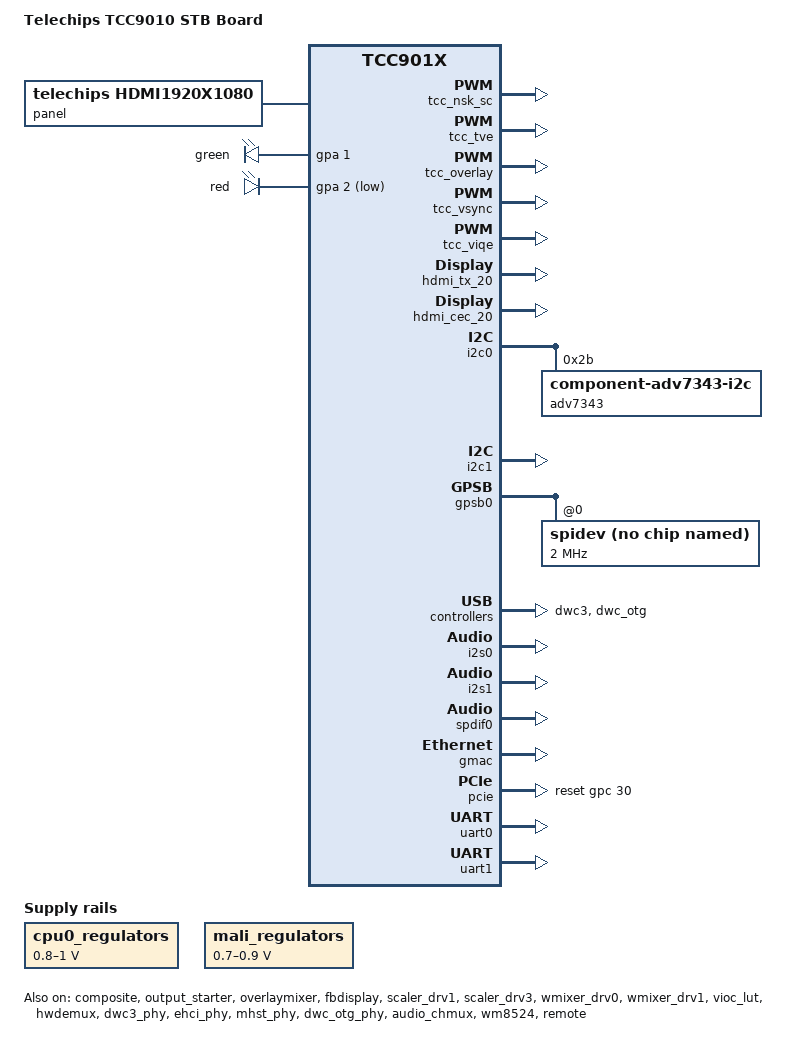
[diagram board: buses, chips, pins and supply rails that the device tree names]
// SPDX-License-Identifier: (GPL-2.0+ OR MIT)
/*
 * Device tree for Telechips TCC9010 STB board
 *
 * Copyright (C) 2018 Telechips Inc.
 */

#ifndef DT_OVERLAY
#include "tcc9010.dtsi"
#endif

#include "tcc901x-android.dtsi"

/ {
	model = "Telechips TCC9010 STB Board";
	compatible = "telechips,tcc9010", "telechips,tcc901x";

        tcc_nsk_sc: tcc_nsk_sc@16671000 {
        };

};

        &tcc_nsk_sc {
                compatible = "telechips,tcc-nsk-sc";
                reg = <0x16671000 0xFF>,
                        <0x16684000 0x1F>,
                        <0x16051000 0x70>,
                        <0x16020200 0x2F>;
                /*interrupts = <GIC_SPI 70 IRQ_TYPE_LEVEL_HIGH>;*/
                /*interrupts = <GIC_SPI 95 IRQ_TYPE_LEVEL_HIGH>;*/
                interrupts = <GIC_SPI 88 IRQ_TYPE_LEVEL_HIGH>;
                clocks = <&clk_peri PERI_UART7>, <&clk_io IOBUS_SMARTCARD7>; /* UART7 and SMARTCARD7 share a peripheral clock which is PERI UART7 */
                clock-names = "smartcardclk", "apb_pclk";
                clock-frequency = <108000000>;

                iobus_dmareqsel_offset = <0x24>;
                iobus_dmareqsel_value = <0x40000000>;
                iobus_hrsten_offset = <0xc>;
                iobus_hrsten_value = <0x200>;

                dma_extreq_value = <0x40000000>;

                uart_chnum = <7>;
                uart_port = <7>;
                uart_datmux_use = <1>;

                tda8024_use = <1>;
                rst_gpios =  <&gpd 9 0>;
		//rst_gpios = <&gpf 10 0>;
                detect_gpios = <&gpf 21 0>;
                pwren_gpios = <&gpf 22 0>;
                /*pwren_gpios = <&gpf 8 0>;*/
                vccsel_gpios = <&gpf 8 0>;
                clk_gpios = <&gpf 27 0>;
                data_c7_gpios = <&gpf 26 0>;
                data_c4_gpios = <&gpf 28 0>;
                data_c8_gpios = <&gpf 29 0>;
                pinctrl-names = "default", "gpio_C4", "gpio_C8", "gpio_C7", "gpio_C3";
                pinctrl-0 = <&nsk_sc_ctrl>;
                pinctrl-1 = <&nsk_sc_gpio_C4>;
                pinctrl-2 = <&nsk_sc_gpio_C8>;
                pinctrl-3 = <&nsk_sc_gpio_C7>;
                pinctrl-4 = <&nsk_sc_gpio_C3>;
                status = "okay";

        };

&chosen {
};

&cpu0_regulators {
	compatible = "regulator-gpio";

	regulator-name = "vdd_cpu0";
	regulator-min-microvolt = < 800000>;
	regulator-max-microvolt = <1000000>;
	regulator-type = "voltage";
	regulator-always-on;

	gpios = <&gpd 17 0x4
	         &gpd 16 0x4>;

	gpios-states = <0 1>;

	states = < 800000 0x1
		900000 0x2
		1000000 0x3
	>;

	startup-delay-us = <100000>;
	enable-active-high;
};

&mali_regulators {
	compatible = "regulator-gpio";

	regulator-name = "vdd_mali";
	regulator-min-microvolt = <700000>;
	regulator-max-microvolt = <900000>;
	regulator-type = "voltage";
	regulator-always-on;

	gpios = <&gpd 7 0x4
		&gpd 15 0x4>;
	gpios-states = <1 0>;

	states = < 700000 0x1
		800000 0x2
		900000 0x3
		>;

	startup-delay-us = <100000>;
	enable-active-high;
};

&gpu {
        operating-points-v2 = <&gpu_opp_table>;
};

&gpu_opp_table {

	opp@444000000 {
		opp-hz = /bits/ 64 <444000000>;
		opp-microvolt = <700000>;
		opp-core-mask = /bits/ 64 <0x3>;
	};
	opp@592000000 {
		opp-hz = /bits/ 64 <592000000>;
		opp-microvolt = <800000>;
		opp-core-mask = /bits/ 64 <0x3>;
	};

	opp@600000000 {
		opp-hz = /bits/ 64 <600000000>;
		opp-microvolt = <900000>;
		opp-core-mask = /bits/ 64 <0x3>;
	};
};

&tcc_pm {
	wakeup,powerkey = <PMU_WKUP_GP_G11 WAKEUP_ACT_LO>;
	//gpio-powers = <&gpd 20 0>;              /* SLP_PWRCTL */
};

&panel {
	status = "okay";
	compatible = "telechips,hdmi1920x1080";
};

&tcc_tve {
	status = "okay";
};

&composite {
	status = "okay";
};

&component {
	status = "disable";
	io_port_num = <1>;	/* TCC901x: LCDC interface 1 (L1_XXX) */
};

&output_starter {
	status = "okay";
};

&overlaymixer {
	status ="okay";
	contiguousSize = <0x1000000>;  /* 16MB (if > 512MB RAM) refer to Guide 27 Page */
	baseAddress = <0x20000000>;
	physSize = <0x80000000>; /*  DRAM size (0x40000000 = 1GB, 0x80000000 = 2GB) */
};

&fbdisplay {
	telechips,fbdisplay_num = <0>;
	status ="okay";
};

&tcc_overlay {
	compatible = "telechips,tcc_overlay";
	status = "okay";
	fbdisplay-overlay = <&fbdisplay>;
};

&tcc_vsync {
	compatible = "telechips,tcc_vsync";
	display-vioc0 = <&vioc_disp VIOC_DISP0>;
	display-vioc1 = <&vioc_disp VIOC_DISP1>;
	status = "okay";
};

&tcc_viqe {
	compatible = "telechips,tcc_viqe";
	status ="okay";
	tcc_viqe_viqe_common {
		board_num=<1>;
	};
};

&scaler_drv1 {
	rdmas = <&vioc_rdma VIOC_RDMA16>;
	scalers = <&vioc_scaler VIOC_SCALER1 VIOC_SC_RDMA_16>;	/* id:1, path:17 */
	wmixs = <&vioc_wmix VIOC_WMIX5>;	/* id:5, path:6 */
	wdmas = <&vioc_wdma VIOC_WDMA06>;
	settop_support = <1>;
	status = "okay";
};

&scaler_drv3 {
	rdmas = <&vioc_rdma VIOC_RDMA07>;
	scalers = <&vioc_scaler VIOC_SCALER3 VIOC_SC_RDMA_07>;	/* id:3, path:7 */
	wmixs = <&vioc_wmix VIOC_WMIX1>;	/* id:1, path:3 */
	wdmas = <&vioc_wdma VIOC_WDMA01>;
	settop_support = <1>;
	status = "okay";
};

&wmixer_drv0 {
	status = "okay";
};

&wmixer_drv1 {
	status = "okay";
};
&vioc_lut {
	status = "okay";
};

&hdmi_tx_20 {
	status = "okay";
	hdmi_ref_src_clock = <0>; // 0 XIN, 1 X-TAL, 2 PERI, 3, PMU XIN
	hdmi_phy_type = <1>;

	/* Source Product Description */
	product_description = "TCC9010_stb";
};

&hdmi_cec_20 {
	status = "okay";
};

&tcc_dxb_ctrl {
	compatible = "telechips,tcc_dxb_ctrl";
	pw-gpios   = <&gpe 20 0>;
	dxb0-gpios = <&gpe 22 0>, <&gpe 21>, <&gpd 2 0>, <>;
	dxb1-gpios = <>, <>, <>, <>;
	ant-gpios  = <>, <>;
};

/* I2C */

// Default set
&i2c0 {
	port-mux = <9>;
	status = "okay";
	pinctrl-names = "default";
	pinctrl-0 = <&i2c9_bus>;

	adv7343@20 {
		compatible = "component-adv7343-i2c";
		reg = <0x2b>;	/* ALSB=1, Write=0x56, Read=0x57 */
	};
};

// DXB
&i2c1 {
	port-mux = <8>;
	status = "okay";
	pinctrl-names = "default";
	pinctrl-0 = <&i2c8_bus>;
};

/* H/W Demux */
&hwdemux {
	compatible = "telechips,hwdemux";
	status = "okay";
};

/* Linux TV */
&tcc_hwdmx_tsif0 {
	compatible = "telechips,tcc90xx-hwdmx-tsif";
	tsif-port = <2>;
	pinctrl-names = "idle", "active";
	pinctrl-0 = <&tsrx2_idle>;
	pinctrl-1 = <&tsrx2_active>;
};

&tcc_hwdmx_tsif1 {
	compatible = "telechips,tcc90xx-hwdmx-tsif";
	tsif-port = <3>;
//	pinctrl-names = "idle", "active";
//	pinctrl-0 = <&tsrx3_idle>;
//	pinctrl-1 = <&tsrx3_active>;
};

/* GPSB */
&gpsb0 {
	status = "okay";
	gpsb-port = <8>;
	pinctrl-names = "idle", "active";
	pinctrl-0 = <&gpsb8_bus_idle>;
	pinctrl-1 = <&gpsb8_bus_spi>;

	#address-cells = <1>;
	#size-cells = <0>;
	spidev@0 {
		compatible = "rohm,dh2228fv";
		reg = <0>;
		spi-max-frequency = <2000000>;
	};
};

/* USB 3.0 DRD */
&dwc3_phy {
	status = "okay";
	vbus-ctrl-able;
	vbus-gpio = <&gpd 19 0>;
};
&dwc3 {
	status = "okay";
	//usb3en-ctrl-able;
	//usb3en-gpio = <&gpc 22 0>;
	//vbus-source-ctrl;
	vbus-ctrl-able;
	vbus-gpio = <&gpd 19 0>;
	//pinctrl-names = "default";
	//vdd_dwc-supply = <&vdd_v5p0_reg>;
};

/* USB 2.0 HOST */
&ehci_phy {
	status = "okay";
	vbus-ctrl-able;
	vbus-gpio = <&gpd 15 0>;
};

&mhst_phy {
	status = "okay";
	vbus-ctrl-able;
	vbus-gpio = <&gpd 18 0>;
};

&dwc_otg_phy {
	status = "okay";
	vbus-ctrl-able;
	vbus-gpio = <&gpd 18 0>;
};

&ehci {
	status = "disable";
	hcd_id = <0>;
	phy-type = <1>;	    //pico phy = 1, nano phy = 0
	//hosten-ctrl-able;
	//hosten-gpio = <&gpe 15 0>;
	//vbus-ctrl-able;
	//vbus-gpio = <&gpd 15 0>;
	//vbus-source-ctrl;
	//pinctrl-names = "default";
	//vdd_ehci-supply = <&vdd_v5p0_reg>;

	//sq_level_ctl;
	TXVRT = <0xB>;
	TXRISET = <0x3>;
	TXAT = <0x1>;
};

&ohci {
	status = "disable";
	//hosten-ctrl-able;
	//hosten-gpio = <&gpe 15 0>;
	//vbus-ctrl-able;
	//vbus-gpio = <&gpd 15 0>;
	//vbus-source-ctrl;
	//vdd_ohci-supply = <&vdd_v5p0_reg>;
};

/* USB 2.0 OTG */
&dwc_otg {
	status = "okay";
	phy-type = <1>;     //pico phy = 1, nano phy = 0

	vbus-ctrl-able;
	vbus-gpio = <&gpd 18 0>;
};

&audio_chmux {
	compatible = "telechips,audio-chmux-901x";
	dai = <99 1>; // i2s0(x) i2s1(x)
	cdif = <99 99>; // cdif0(x) cdif1(x)
	spdif = <1>; // spdif0(x)
	status = "okay";
};

&i2s0 {
	status = "okay";
};

&i2s1 {
	pinctrl-names = "default", "idle";
	pinctrl-0 = <&m1dai1_clks &m1dai1_dao0>;
	pinctrl-1 = <&m1dai1_clks_idle &m1dai1_dao0_idle>;
	status = "okay";
};

&spdif0 {
	pinctrl-names = "default", "idle";
	pinctrl-0 = <&m0dai1_spdif_tx>;
	pinctrl-1 = <&m0dai1_spdif_tx_idle>;
	status = "okay";
};

&adma0 {
	status = "okay";
};

&adma1 {
	status = "okay";
};

&wm8524 {
	compatible = "wolfson,wm8524";
	status = "okay";

	/*codec_aif-gpios = <&gpd 6 0>;*/
	codec_mute_ang-gpios = <&gpg 19 0>;
	codec_mute_ctl-gpios = <&gpg 17 0>;
	/* value to enable mute*/
	codec_mute_ang-mute_value = <0>;
};

&sound {
	compatible = "telechips,snd-card";
	card-name = "TCC9010 STB Card";
	status = "okay";

	telechips,dai-link@0 {
		stream-name="I2S_1";

		codec,format = "i2s"; // i2s, left_j, right_j
		codec,continuous-clock;

		mclk_div = <4>; // 4,6,8,16
		bclk_ratio = <64>; // 32,48,64fs
		pcm = <&adma1>;
		dai = <&i2s1>;
		codec = <&wm8524>;
		codec,dai-name = "wm8524-hifi";
	};

	telechips,dai-link@1 {
		stream-name="I2S_0_HDMI_PATHTRU";

		codec,format = "i2s"; // i2s, left_j, right_j
		codec,continuous-clock;

		mclk_div = <4>; // 4,6,8,16
		bclk_ratio = <64>; // 32,48,64fs
		pcm = <&adma0>;
		dai = <&i2s0>;
	};

	telechips,dai-link@2 {
		stream-name="SPDIF_0_TX";

		pcm = <&adma0>;
		dai = <&spdif0>;
		playback-only;
	};
};

&remote {
	int-gpios = <&gpc 28 0>;
	pinctrl-names = "default";
	pinctrl-0 = <&remote_c28>;
	wakeupsrc = <011>; //RMISEL is 0x3 : GPIO_C28
	status = "okay";
};

&gmac {
	status = "okay";
	phyrst-gpio = <&gpc 9 0>;
	phy-interface = "rgmii";
	ecid-mac-addr;

	txclk-o-dly = <4>;
	txclk-o-inv = <0>;

	txen-dly = <0>;
	txer-dly = <0>;
	txd0-dly = <0>;
	txd1-dly = <0>;
	txd2-dly = <0>;
	txd3-dly = <0>;
	txd4-dly = <0>;
	txd5-dly = <0>;
	txd6-dly = <0>;
	txd7-dly = <0>;

	rxclk-i-dly = <12>;
	rxclk-i-inv = <0>;

	rxdv-dly = <0>;
	rxer-dly = <0>;
	rxd0-dly = <0>;
	rxd1-dly = <0>;
	rxd2-dly = <0>;
	rxd3-dly = <0>;
	rxd4-dly = <0>;
	rxd5-dly = <0>;
	rxd6-dly = <0>;
	rxd7-dly = <0>;
	crs-dly = <0>;
	col-dly = <0>;
	pinctrl-names = "default", "mii", "rmii", "gmii", "rgmii";
	pinctrl-0 = <>;
	pinctrl-1 = <&gmac1_mdc &gmac1_mdio &gmac1_col &gmac1_crs &gmac1_txer &gmac1_rxer
		     &gmac1_txclk &gmac1_txen &gmac1_txd0 &gmac1_txd1 &gmac1_txd2 &gmac1_txd3
		     &gmac1_rxclk &gmac1_rxdv &gmac1_rxd0 &gmac1_rxd1 &gmac1_rxd2 &gmac1_rxd3>;
	pinctrl-2 = <&gmac1_mdc &gmac1_mdio
		     &gmac1_txclk &gmac1_txen &gmac1_txd0 &gmac1_txd1
		     &gmac1_rxer &gmac1_rxdv &gmac1_rxd0 &gmac1_rxd1>;
	pinctrl-3 = <&gmac1_mdc &gmac1_mdio &gmac1_col &gmac1_crs &gmac1_txer &gmac1_rxer
		     &gmac1_txclk &gmac1_txen &gmac1_txd0 &gmac1_txd1 &gmac1_txd2 &gmac1_txd3
		     &gmac1_txd4 &gmac1_txd5 &gmac1_txd6 &gmac1_txd7
		     &gmac1_rxclk &gmac1_rxdv &gmac1_rxd0 &gmac1_rxd1 &gmac1_rxd2 &gmac1_rxd3
		     &gmac1_rxd4 &gmac1_rxd5 &gmac1_rxd6 &gmac1_rxd7>;
	pinctrl-4 = <&gmac1_mdc &gmac1_mdio
		     &gmac1_txclk &gmac1_txen &gmac1_txd0 &gmac1_txd1 &gmac1_txd2 &gmac1_txd3
		     &gmac1_rxclk &gmac1_rxdv &gmac1_rxd0 &gmac1_rxd1 &gmac1_rxd2 &gmac1_rxd3>;
};

&pcie {
	reset-gpio = <&gpc 30 0>;
	//status = "okay";
};

&thermal {
	compatible = "telechips,tcc-thermal";
	reg = <0x14700000 0x4 0x14700030 0x4 0x14200290 0x4 0x1420029C 0x4>;
	clocks = <&clk_isoip_top ISOIP_TOP_TSEN>;
	status = "okay";

	throttle_count = <5>;
	throttle_active_count = <0>;
	throttle_passive_count = <5>;

	cal_type = "TYPE_ONE_POINT_TRIMMING";
	polling-delay-idle = <0>;
	polling-delay-passive = <0>;

	throttle_table {
		throttle_tab_0 {
			temp = <75>;
			freq_max_cluster0 = <1000000>;
			freq_max_cluster1 = <900000>;
		};
		throttle_tab_1 {
			temp = <80>;
			freq_max_cluster0 = <900000>;
			freq_max_cluster1 = <810000>;
		};
		throttle_tab_2 {
			temp = <85>;
			freq_max_cluster0 = <800000>;
			freq_max_cluster1 = <720000>;
		};
		throttle_tab_3 {
			temp = <90>;
			freq_max_cluster0 = <700000>;
			freq_max_cluster1 = <630000>;
		};
		throttle_tab_4 {
			temp = <95>;
			freq_max_cluster0 = <600000>;
			freq_max_cluster1 = <540000>;
		};
	};

};

&gpio_leds {
	compatible = "gpio-leds";
	green {
		gpios = <&gpa 1 0>;
		default-state = "on";
	};
	red {
		gpios = <&gpa 2 1>;
		default-state = "on";
	};
};

&uart0 {
	pinctrl-names = "default";
	pinctrl-0 = <&uart2_data>;
	status = "okay";
};

/* bluetooth */
&uart1 {
	pinctrl-names = "default";
	pinctrl-0 = <&uart4_data &uart4_rtscts>;
	dmas = <&udma1 2 2 &udma1 3 2>;
	dma-names = "tx", "rx";
	status = "okay";
};
